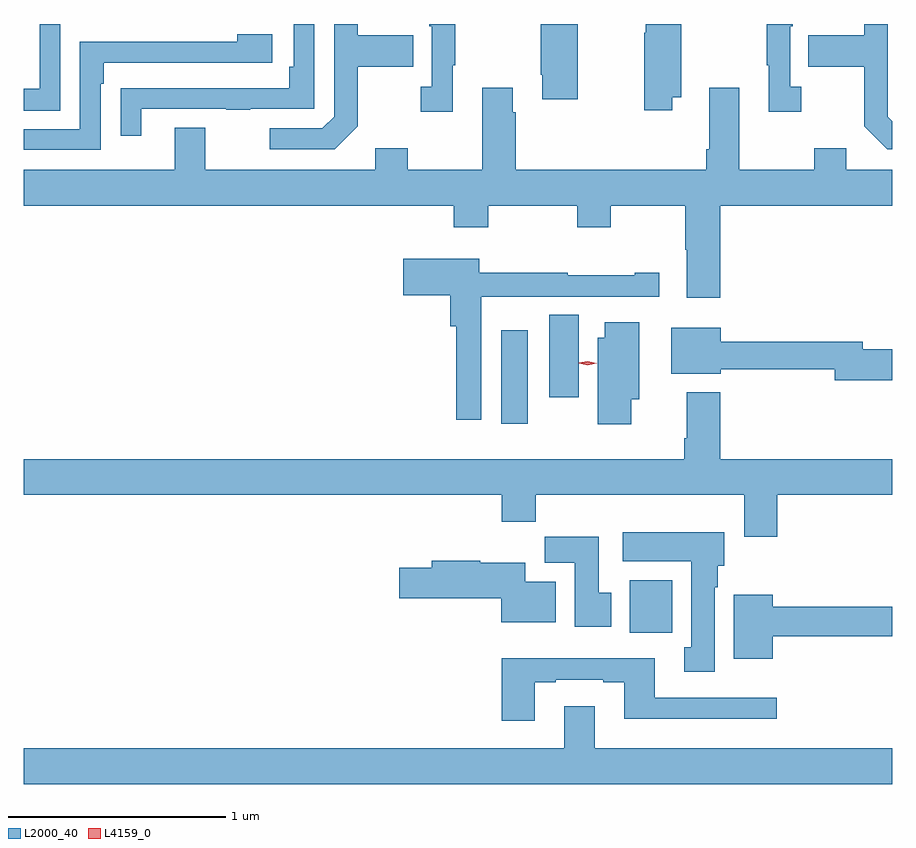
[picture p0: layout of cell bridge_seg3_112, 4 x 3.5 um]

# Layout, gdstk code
import gdstk
lib = gdstk.Library(unit=1e-6, precision=1e-09)
def R(c, l, rs):  # rectangles x0, y0, x1, y1
    for r in rs: c.add(gdstk.rectangle(r[:2], r[2:], *l))
def P(c, l, *ps):  # polygons
    for p in ps: c.add(gdstk.Polygon(p, *l))
L2000_40 = (2000, 40)
L4159_0 = (4159, 0)

bridge_seg3_112 = lib.new_cell('bridge_seg3_112')
R(bridge_seg3_112, L2000_40, [(157.739,712.268,157.936,712.51), (157.148,713.232,157.27,713.662), (157.37,713.352,157.504,713.732)])
P(bridge_seg3_112, L2000_40, [(158.53,714.782),(158.478,714.782),(158.478,715.061),(158.491,715.061),(158.491,715.072),(158.37,715.072),(158.37,714.881),(158.381,714.881),(158.381,714.669),(158.53,714.669)],
  [(155.118,715.072),(155.022,715.072),(155.022,714.774),(154.95,714.774),(154.95,714.673),(155.118,714.673)],
  [(156.925,714.881),(156.937,714.881),(156.937,715.072),(156.816,715.072),(156.816,715.061),(156.828,715.061),(156.828,714.782),(156.777,714.782),(156.777,714.669),(156.925,714.669)],
  [(156.487,714.601),(156.487,714.874),(156.743,714.874),(156.743,715.021),(156.487,715.021),(156.487,715.072),(156.378,715.072),(156.378,714.645),(156.324,714.591),(156.081,714.591),(156.081,714.495),(156.381,714.495)],
  [(157.5,715.072),(157.33,715.072),(157.33,714.838),(157.337,714.838),(157.337,714.726),(157.5,714.726)],
  [(157.936,714.734),(157.977,714.734),(157.977,715.072),(157.814,715.072),(157.814,715.031),(157.807,715.031),(157.807,714.675),(157.936,714.675)],
  [(155.491,714.681),(155.881,714.681),(155.881,714.676),(155.993,714.676),(155.993,714.681),(156.288,714.681),(156.288,715.072),(156.192,715.072),(156.192,714.874),(156.172,714.874),(156.172,714.777),(155.497,714.777),(155.497,714.776),(155.395,714.776),(155.395,714.558),(155.491,714.558)],
  [(158.949,714.624),(158.928,714.645),(158.928,715.072),(158.82,715.072),(158.82,715.021),(158.563,715.021),(158.563,714.874),(158.82,714.874),(158.82,714.601),(158.925,714.495),(158.949,714.495)],
  [(155.304,714.797),(155.317,714.797),(155.317,714.894),(156.094,714.894),(156.094,715.024),(155.933,715.024),(155.933,714.99),(155.208,714.99),(155.208,714.588),(154.949,714.588),(154.949,714.492),(155.304,714.492)],
  [(158.156,714.236),(158.949,714.236),(158.949,714.4),(158.737,714.4),(158.737,714.499),(158.59,714.499),(158.59,714.4),(158.245,714.4),(158.245,714.778),(158.105,714.778),(158.105,714.496),(158.093,714.496),(158.093,714.4),(157.214,714.4),(157.214,714.665),(157.201,714.665),(157.201,714.778),(157.061,714.778),(157.061,714.4),(156.717,714.4),(156.717,714.499),(156.569,714.499),(156.569,714.4),(155.785,714.4),(155.785,714.595),(155.645,714.595),(155.645,714.4),(154.949,714.4),(154.949,714.236),(156.929,714.236),(156.929,714.137),(157.089,714.137),(157.089,714.236),(157.498,714.236),(157.498,714.137),(157.653,714.137),(157.653,714.236),(157.996,714.236),(157.996,714.032),(158.003,714.032),(158.003,713.811),(158.156,713.811)],
  [(157.056,713.816),(157.266,713.816),(157.266,713.817),(157.876,713.817),(157.876,713.926),(157.763,713.926),(157.763,713.916),(157.454,713.916),(157.454,713.926),(157.048,713.926),(157.048,713.992),(156.696,713.992),(156.696,713.822),(156.914,713.822),(156.914,713.681),(156.94,713.681),(156.94,713.25),(157.056,713.25)],
  [(157.747,713.345),(157.783,713.345),(157.783,713.698),(157.625,713.698),(157.625,713.626),(157.592,713.626),(157.592,713.229),(157.747,713.229)],
  [(158.949,713.573),(158.812,713.573),(158.812,713.609),(158.158,713.609),(158.158,713.674),(157.931,713.674),(157.931,713.462),(158.158,713.462),(158.158,713.481),(158.684,713.481),(158.684,713.431),(158.949,713.431)],
  [(158.42,712.904),(158.949,712.904),(158.949,713.068),(158.156,713.068),(158.156,713.377),(158.003,713.377),(158.003,713.164),(157.991,713.164),(157.991,713.068),(154.949,713.068),(154.949,712.904),(157.151,712.904),(157.151,712.78),(157.307,712.78),(157.307,712.904),(158.267,712.904),(158.267,712.71),(158.42,712.71)],
  [(158.131,712.478),(158.146,712.478),(158.146,712.578),(158.176,712.578),(158.176,712.732),(157.707,712.732),(157.707,712.598),(158.024,712.598),(158.024,712.202),(157.991,712.202),(157.991,712.089),(158.131,712.089)],
  [(157.654,712.452),(157.597,712.452),(157.597,712.711),(157.348,712.711),(157.348,712.592),(157.487,712.592),(157.487,712.296),(157.654,712.296)],
  [(157.399,712.504),(157.258,712.504),(157.258,712.591),(157.052,712.591),(157.052,712.599),(156.827,712.599),(156.827,712.569),(156.678,712.569),(156.678,712.427),(157.148,712.427),(157.148,712.316),(157.399,712.316)],
  [(158.398,712.252),(158.949,712.252),(158.949,712.388),(158.398,712.388),(158.398,712.444),(158.219,712.444),(158.219,712.148),(158.398,712.148)],
  [(157.303,712.041),(157.399,712.041),(157.399,712.053),(157.619,712.053),(157.619,712.041),(157.715,712.041),(157.715,711.872),(158.416,711.872),(158.416,711.969),(157.855,711.969),(157.855,712.15),(157.151,712.15),(157.151,711.864),(157.303,711.864)],
  [(158.949,711.736),(157.579,711.736),(157.579,711.931),(157.439,711.931),(157.439,711.736),(154.949,711.736),(154.949,711.572),(158.949,711.572)])
P(bridge_seg3_112, L4159_0, [(157.546,713.5),(157.506,713.51),(157.505,713.51),(157.506,713.511),(157.547,713.52),(157.588,713.51),(157.588,713.51),(157.588,713.51)])

lib.write_gds('bridge_seg3_112.gds')
